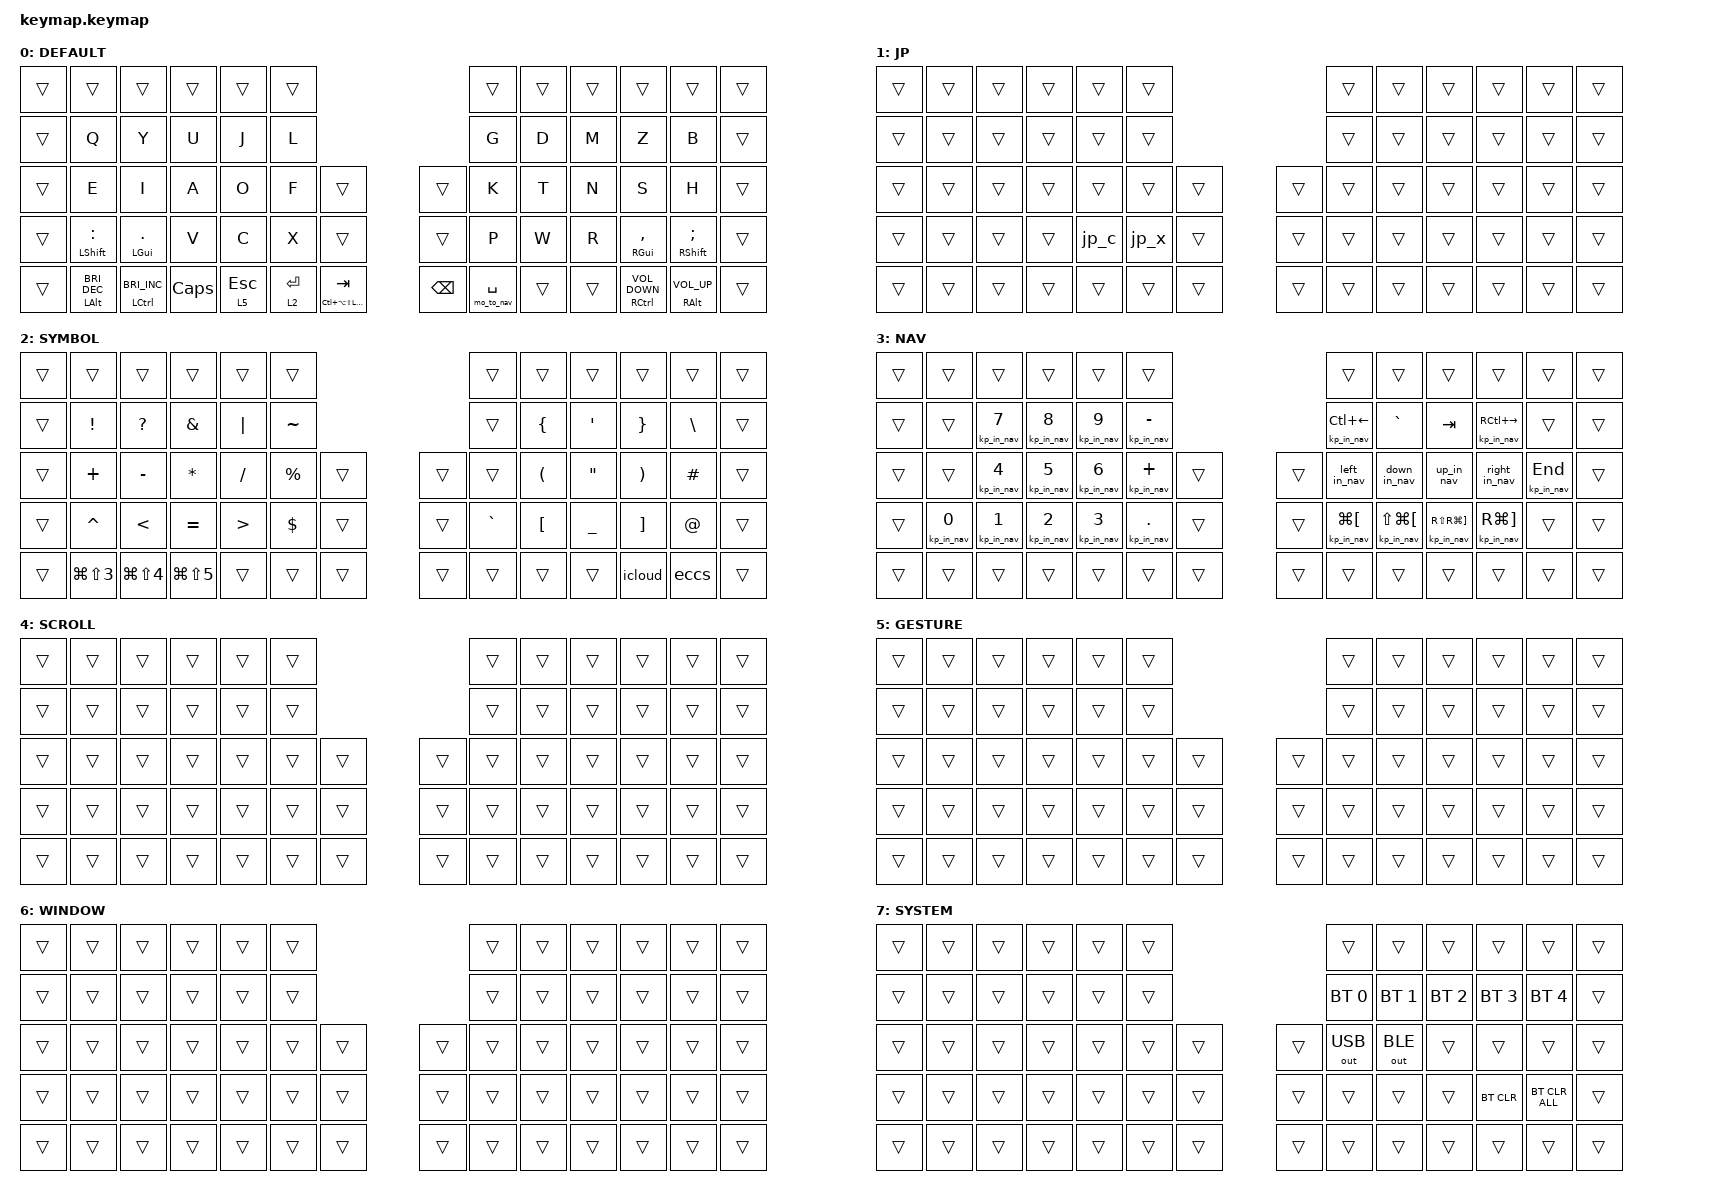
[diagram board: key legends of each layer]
#include <dt-bindings/zmk/input_transform.h>
#include <input/processors.dtsi>
#include <behaviors.dtsi>
#include <dt-bindings/zmk/keys.h>
#include <dt-bindings/zmk/pointing.h>
#include <dt-bindings/zmk/bt.h>
#include <dt-bindings/zmk/outputs.h>

// With any of these held, the JP-layer Q/L keys send plain Q/L (keeping the mods),
// so shortcuts like Cmd+Q and Cmd+L still work in Japanese mode.
#define JP_PASS_MODS (MOD_LGUI|MOD_RGUI|MOD_LCTL|MOD_RCTL|MOD_LALT|MOD_RALT|MOD_LSFT|MOD_RSFT)

// The BLE profile the iPad is paired on (&bt BT_SEL 1, the D key on SYSTEM).
// While it is in use, the trackball gestures send iPad shortcuts instead.
#define IPAD_BLE_PROFILE 1

// The key left of Esc sends Caps Lock, which the Mac and the iPad remap to Globe
// (Modifier Keys settings), so a tap opens the emoji picker. macOS drops a remapped
// Globe from key combos (Globe+Ctrl+F arrives as Ctrl+F), so no shortcut uses Globe.

&pointing_listener {
    input-processors =
        <&zip_xy_scaler 2 3>,
        <&zip_xy_transform (INPUT_TRANSFORM_X_INVERT | INPUT_TRANSFORM_Y_INVERT)>;

    scroll {
        layers = <4>;
        input-processors =
            <&zip_xy_scaler 2 3>,
            <&zip_xy_transform (INPUT_TRANSFORM_X_INVERT)>,
            <&zip_xy_to_scroll_mapper>,
            <&zip_scroll_scaler 1 16>;
    };

    gesture {
        layers = <5>;
        input-processors =
            <&zip_xy_transform (INPUT_TRANSFORM_X_INVERT | INPUT_TRANSFORM_Y_INVERT)>,
            <&zip_gestures>;
    };

    window {
        layers = <6>;
        input-processors =
            <&zip_xy_transform (INPUT_TRANSFORM_X_INVERT | INPUT_TRANSFORM_Y_INVERT)>,
            <&zip_window_gestures>;
    };
};

&lt {
    hold-while-undecided;
    flavor = "hold-preferred";
};

&mt { flavor = "balanced"; };

/ {
    // Flick the trackball while GESTURE (Esc) or WINDOW (A+O) is held to tap one of these
    // bindings (up, down, left, right). They are only reachable by flicking, not by keys.
    // None of the gestures is used repeatedly, so ignore the ball for 800 ms after one fires.
    // ipad-bindings replace them on the iPad's profile (USB and other profiles stay Mac).

    zip_gestures: zip_gestures {
        compatible = "zmk,input-processor-gestures";
        #input-processor-cells = <0>;
        // Mac: Mission Control, Raycast, show desktop, full screen.
        bindings =
            <&kp LC(UP_ARROW)>,
            <&kp LC(LA(LS(LG(R))))>,
            <&kp F11>,
            <&kp LG(LC(F))>;

        // iPad: mouse button 4 (App Switcher), Spotlight, Home, nothing. The iPad's
        // AssistiveTouch decides what button 4 does (Customize Additional Buttons);
        // button 5 is Lock Screen there, sent by &lock_host instead.
        ipad-bindings =
            <&mkp MB4>,
            <&kp LG(SPACE)>,
            <&kp LG(H)>,
            <&none>;

        ipad-ble-profile = <IPAD_BLE_PROFILE>;
        cooldown-ms = <800>;
    };

    zip_window_gestures: zip_window_gestures {
        compatible = "zmk,input-processor-gestures";
        #input-processor-cells = <0>;
        bindings =
            <&kp LC(LG(UP_ARROW))>,
            <&kp LC(LG(DOWN_ARROW))>,
            <&kp LC(LG(LEFT_ARROW))>,
            <&kp LC(LG(RIGHT_ARROW))>;

        // iPad: off (the iPad runs Full Screen Apps, so there are no windows to tile).
        ipad-bindings =
            <&none>,
            <&none>,
            <&none>,
            <&none>;

        ipad-ble-profile = <IPAD_BLE_PROFILE>;
        cooldown-ms = <800>;
    };

    combos {
        compatible = "zmk,combos";

        kana {
            bindings = <&tn_combo 4 0>;
            key-positions = <33 34>;
            layers = <0 1>;
        };

        eisuu {
            bindings = <&ao_combo 6 0>;
            key-positions = <28 27>;
            layers = <0 1>;
        };

        mb1 {
            bindings = <&mkp MB1>;
            timeout-ms = <80>;
            key-positions = <33 19>;
        };

        mb2 {
            bindings = <&mkp MB2>;
            timeout-ms = <80>;
            key-positions = <35 21>;
        };

        mb3 {
            bindings = <&mkp MB3>;
            timeout-ms = <80>;
            key-positions = <34 20>;
        };

        // Tap both brightness keys to lock the screen (Mac and iPad, see &lock_host);
        // hold both for Ctrl+Alt as before.
        lock_screen {
            bindings = <&pair_mt_lock LC(LEFT_ALT) 0>;
            key-positions = <53 54>;
            layers = <0 1>;
        };

        // Tap both volume keys to mute; hold both for Ctrl+Alt as before.
        mute {
            bindings = <&pair_mt RC(RIGHT_ALT) C_MUTE>;
            key-positions = <63 64>;
            layers = <0 1>;
        };

        // Hold Enter and Tab together for SYSTEM (BLE profiles and output).
        system_layer {
            bindings = <&mo 7>;
            key-positions = <57 58>;
            layers = <0 1>;
        };
    };

    behaviors {
        lt_to_nav: lt_to_nav {
            compatible = "zmk,behavior-hold-tap";
            label = "LT_TO_NAV";
            bindings = <&mo_to_nav>, <&kp>;

            #binding-cells = <2>;
            tapping-term-ms = <150>;
            hold-while-undecided;
        };

        tog_on: tog_on {
            compatible = "zmk,behavior-toggle-layer";
            label = "TOG_ON";
            #binding-cells = <1>;
            toggle-mode = "on";
        };

        tog_off: tog_off {
            compatible = "zmk,behavior-toggle-layer";
            label = "TOG_OFF";
            #binding-cells = <1>;
            toggle-mode = "off";
        };

        left_in_nav: left_in_nav {
            compatible = "zmk,behavior-mod-morph";
            label = "LEFT_IN_NAV";
            bindings = <&kp LEFT_ARROW>, <&kp LEFT_ARROW>;

            #binding-cells = <0>;
            mods = <(MOD_RGUI)>;
        };

        down_in_nav: down_in_nav {
            compatible = "zmk,behavior-mod-morph";
            label = "DOWN_IN_NAV";
            bindings = <&kp DOWN_ARROW>, <&kp DOWN_ARROW>;

            #binding-cells = <0>;
            mods = <(MOD_RGUI)>;
        };

        up_in_nav: up_in_nav {
            compatible = "zmk,behavior-mod-morph";
            label = "UP_IN_NAV";
            bindings = <&kp UP_ARROW>, <&kp UP_ARROW>;

            #binding-cells = <0>;
            mods = <(MOD_RGUI)>;
        };

        right_in_nav: right_in_nav {
            compatible = "zmk,behavior-mod-morph";
            label = "RIGHT_IN_NAV";
            bindings = <&kp RIGHT_ARROW>, <&kp RIGHT_ARROW>;

            #binding-cells = <0>;
            mods = <(MOD_RGUI)>;
        };

        tn_combo: tn_combo {
            compatible = "zmk,behavior-hold-tap";
            label = "TN_COMBO";
            bindings = <&mo>, <&kana_jp>;

            #binding-cells = <2>;
            flavor = "hold-preferred";
            tapping-term-ms = <150>;
            hold-while-undecided;
        };

        ao_combo: ao_combo {
            compatible = "zmk,behavior-hold-tap";
            label = "AO_COMBO";
            bindings = <&mo>, <&eisuu_default>;

            #binding-cells = <2>;
            flavor = "hold-preferred";
            tapping-term-ms = <150>;
            hold-while-undecided;
        };

        // JP layer only: C types "xn" (ん) and X types MINUS (ー).
        // Romaji input loses C (type ti/tya for ち/ちゃ), and L covers X's small kana (la, ltu, lya).
        // L stays plain so zh/zj/zk/zl still type the arrows.

        jp_c: jp_c {
            compatible = "zmk,behavior-mod-morph";
            label = "JP_C";
            bindings = <&xn_macro>, <&kp C>;

            #binding-cells = <0>;
            mods = <JP_PASS_MODS>;
            keep-mods = <JP_PASS_MODS>;
        };

        jp_x: jp_x {
            compatible = "zmk,behavior-mod-morph";
            label = "JP_X";
            bindings = <&kp MINUS>, <&kp X>;

            #binding-cells = <0>;
            mods = <JP_PASS_MODS>;
            keep-mods = <JP_PASS_MODS>;
        };

        my_mt: my_mt {
            compatible = "zmk,behavior-hold-tap";
            label = "MY_MT";
            bindings = <&kp>, <&kp>;

            #binding-cells = <2>;
            flavor = "hold-preferred";
            tapping-term-ms = <200>;
            hold-while-undecided;
            balanced-key-positions = <56 57 58 59 60>;
        };

        // Lock the screen: Cmd+Ctrl+Q on the Mac; on the iPad's profile mouse button 5,
        // which the iPad's AssistiveTouch maps to Lock Screen (the Power key doesn't lock it).
        lock_host: lock_host {
            compatible = "zmk,behavior-ipad-morph";
            label = "LOCK_HOST";
            #binding-cells = <0>;
            bindings = <&kp LG(LC(Q))>, <&mkp MB5>;
            ipad-ble-profile = <IPAD_BLE_PROFILE>;
        };

        // pair_mt with &lock_host as the tap, for the lock_screen combo.
        pair_mt_lock: pair_mt_lock {
            compatible = "zmk,behavior-hold-tap";
            label = "PAIR_MT_LOCK";
            bindings = <&kp>, <&lock_host>;

            #binding-cells = <2>;
            flavor = "hold-preferred";
            tapping-term-ms = <200>;
        };

        // Binding for combos on two mod-tap keys: a quick tap sends the shortcut,
        // while holding them (or pressing any other key) keeps both mods.
        // hold-preferred, so an unclear press never fires the tap.
        pair_mt: pair_mt {
            compatible = "zmk,behavior-hold-tap";
            label = "PAIR_MT";
            bindings = <&kp>, <&kp>;

            #binding-cells = <2>;
            flavor = "hold-preferred";
            tapping-term-ms = <200>;
        };
    };

    macros {
        mo_to_nav: mo_to_nav {
            compatible = "zmk,behavior-macro";
            #binding-cells = <0>;
            bindings =
                <&macro_press>,
                <&mo 3 &kp RIGHT_GUI>,
                <&macro_pause_for_release>,
                <&macro_release>,
                <&mo 3 &kp RIGHT_GUI>;

            label = "MO_TO_NAV";
        };

        kp_in_nav: kp_in_nav {
            compatible = "zmk,behavior-macro-one-param";
            #binding-cells = <1>;
            bindings =
                <&macro_release>,
                <&kp RIGHT_GUI>,
                <&macro_tap>,
                <&macro_param_1to1 &kp MACRO_PLACEHOLDER>,
                <&macro_press>,
                <&kp RIGHT_GUI>;

            label = "KP_IN_NAV";
        };

        // Track the input mode only when the kana/eisuu combo is tapped.
        // Explicit on/off also lets repeated taps resynchronize with the host.

        kana_jp: kana_jp {
            compatible = "zmk,behavior-macro";
            #binding-cells = <0>;
            wait-ms = <0>;
            tap-ms = <30>;
            bindings = <&macro_press>, <&tog_on 1>, <&macro_tap>, <&kp LANG1>;

            label = "KANA_JP";
        };

        eisuu_default: eisuu_default {
            compatible = "zmk,behavior-macro";
            #binding-cells = <0>;
            wait-ms = <0>;
            tap-ms = <30>;
            bindings = <&macro_press>, <&tog_off 1>, <&macro_tap>, <&kp LANG2>;

            label = "EISUU_DEFAULT";
        };

        xn_macro: xn_macro {
            compatible = "zmk,behavior-macro";
            #binding-cells = <0>;
            bindings = <&kp X &kp N>;
            label = "XN_MACRO";
        };

        icloud: icloud {
            compatible = "zmk,behavior-macro";
            #binding-cells = <0>;
            bindings = <&kp S &kp H &kp I &kp K &kp A &kp L &kp A &kp N &kp D &kp N0 &kp N9 &kp N2 &kp N7 &kp AT &kp I &kp C &kp L &kp O &kp U &kp D &kp DOT &kp C &kp O &kp M>;
            label = "ICLOUD";
        };

        eccs: eccs {
            compatible = "zmk,behavior-macro";
            #binding-cells = <0>;
            bindings = <&kp S &kp H &kp I &kp K &kp A &kp L &kp A &kp N &kp D &kp N0 &kp N9 &kp N2 &kp N7 &kp AT &kp G &kp DOT &kp E &kp C &kp C &kp DOT &kp U &kp MINUS &kp T &kp O &kp K &kp Y &kp O &kp DOT &kp A &kp C &kp DOT &kp J &kp P>;
            label = "ECCS";
        };
    };

    keymap {
        compatible = "zmk,keymap";

        DEFAULT {
            bindings = <
&trans  &trans                         &trans                             &trans         &trans        &trans                                                    &trans              &trans  &trans  &trans                           &trans                        &trans
&trans  &kp Q                          &kp Y                              &kp U          &kp J         &kp L                                                     &kp G               &kp D   &kp M   &kp Z                            &kp B                         &trans
&trans  &kp E                          &kp I                              &kp A          &kp O         &kp F        &trans                        &trans         &kp K               &kp T   &kp N   &kp S                            &kp H                         &trans
&trans  &my_mt LEFT_SHIFT COLON        &mt LEFT_GUI PERIOD                &kp V          &kp C         &kp X        &trans                        &trans         &kp P               &kp W   &kp R   &mt RIGHT_GUI COMMA              &my_mt RIGHT_SHIFT SEMICOLON  &trans
&trans  &mt LEFT_ALT C_BRIGHTNESS_DEC  &mt LEFT_CONTROL C_BRIGHTNESS_INC  &kp CAPS  &lt 5 ESCAPE  &lt 2 ENTER  &mt LC(LA(LS(LEFT_GUI))) TAB  &kp BACKSPACE  &lt_to_nav 0 SPACE  &trans  &trans  &mt RIGHT_CONTROL C_VOLUME_DOWN  &mt RIGHT_ALT C_VOLUME_UP     &trans
            >;
        };

        // Keep JP right above DEFAULT, so combos limited to DEFAULT/JP stay off
        // while SYMBOL or NAV is held. Only C (ん) and X (ー) differ from DEFAULT.

        JP {
            bindings = <
&trans  &trans  &trans  &trans  &trans  &trans                  &trans  &trans  &trans  &trans  &trans  &trans
&trans  &trans  &trans  &trans  &trans  &trans                  &trans  &trans  &trans  &trans  &trans  &trans
&trans  &trans  &trans  &trans  &trans  &trans  &trans  &trans  &trans  &trans  &trans  &trans  &trans  &trans
&trans  &trans  &trans  &trans  &jp_c   &jp_x   &trans  &trans  &trans  &trans  &trans  &trans  &trans  &trans
&trans  &trans  &trans  &trans  &trans  &trans  &trans  &trans  &trans  &trans  &trans  &trans  &trans  &trans
            >;
        };

        SYMBOL {
            bindings = <
&trans  &trans                &trans                &trans                &trans            &trans                       &trans     &trans                &trans             &trans                 &trans         &trans
&trans  &kp EXCLAMATION       &kp QUESTION          &kp AMPERSAND         &kp PIPE          &kp TILDE                    &trans     &kp LEFT_BRACE        &kp SQT            &kp RIGHT_BRACE        &kp BACKSLASH  &trans
&trans  &kp PLUS              &kp MINUS             &kp ASTERISK          &kp SLASH         &kp PERCENT  &trans  &trans  &trans     &kp LEFT_PARENTHESIS  &kp DOUBLE_QUOTES  &kp RIGHT_PARENTHESIS  &kp HASH       &trans
&trans  &kp CARET             &kp LESS_THAN         &kp EQUAL             &kp GREATER_THAN  &kp DOLLAR   &trans  &trans  &kp GRAVE  &kp LEFT_BRACKET      &kp UNDERSCORE     &kp RIGHT_BRACKET      &kp AT         &trans
&trans  &kp LG(LS(NUMBER_3))  &kp LG(LS(NUMBER_4))  &kp LG(LS(NUMBER_5))  &trans            &trans       &trans  &trans  &trans     &trans                &trans             &icloud                &eccs          &trans
            >;
        };

        NAV {
            bindings = <
&trans  &trans               &trans               &trans               &trans               &trans                             &trans                       &trans                           &trans                            &trans                        &trans                   &trans
&trans  &trans               &kp_in_nav N7        &kp_in_nav NUMBER_8  &kp_in_nav NUMBER_9  &kp_in_nav MINUS                   &kp_in_nav LC(LEFT_ARROW)    &kp GRAVE                        &kp TAB                           &kp_in_nav RC(RIGHT_ARROW)    &trans                   &trans
&trans  &trans               &kp_in_nav NUMBER_4  &kp_in_nav N5        &kp_in_nav NUMBER_6  &kp_in_nav PLUS    &trans  &trans  &left_in_nav                 &down_in_nav                     &up_in_nav                        &right_in_nav                 &kp_in_nav END           &trans
&trans  &kp_in_nav NUMBER_0  &kp_in_nav NUMBER_1  &kp_in_nav NUMBER_2  &kp_in_nav NUMBER_3  &kp_in_nav PERIOD  &trans  &trans  &kp_in_nav LG(LEFT_BRACKET)  &kp_in_nav LS(LG(LEFT_BRACKET))  &kp_in_nav RS(RG(RIGHT_BRACKET))  &kp_in_nav RG(RIGHT_BRACKET)  &trans                   &trans
&trans  &trans               &trans               &trans               &trans               &trans             &trans  &trans  &trans                       &trans                           &trans                            &trans                        &trans                   &trans
            >;
        };

        SCROLL {
            bindings = <
&trans  &trans  &trans  &trans  &trans  &trans                  &trans  &trans  &trans  &trans  &trans  &trans
&trans  &trans  &trans  &trans  &trans  &trans                  &trans  &trans  &trans  &trans  &trans  &trans
&trans  &trans  &trans  &trans  &trans  &trans  &trans  &trans  &trans  &trans  &trans  &trans  &trans  &trans
&trans  &trans  &trans  &trans  &trans  &trans  &trans  &trans  &trans  &trans  &trans  &trans  &trans  &trans
&trans  &trans  &trans  &trans  &trans  &trans  &trans  &trans  &trans  &trans  &trans  &trans  &trans  &trans
            >;
        };

        // Hold Esc to flick the trackball for &zip_gestures (keys stay transparent).

        GESTURE {
            bindings = <
&trans  &trans  &trans  &trans  &trans  &trans                  &trans  &trans  &trans  &trans  &trans  &trans
&trans  &trans  &trans  &trans  &trans  &trans                  &trans  &trans  &trans  &trans  &trans  &trans
&trans  &trans  &trans  &trans  &trans  &trans  &trans  &trans  &trans  &trans  &trans  &trans  &trans  &trans
&trans  &trans  &trans  &trans  &trans  &trans  &trans  &trans  &trans  &trans  &trans  &trans  &trans  &trans
&trans  &trans  &trans  &trans  &trans  &trans  &trans  &trans  &trans  &trans  &trans  &trans  &trans  &trans
            >;
        };

        // Hold A+O (tap is eisuu) to flick for &zip_window_gestures (keys stay transparent).

        WINDOW {
            bindings = <
&trans  &trans  &trans  &trans  &trans  &trans                  &trans  &trans  &trans  &trans  &trans  &trans
&trans  &trans  &trans  &trans  &trans  &trans                  &trans  &trans  &trans  &trans  &trans  &trans
&trans  &trans  &trans  &trans  &trans  &trans  &trans  &trans  &trans  &trans  &trans  &trans  &trans  &trans
&trans  &trans  &trans  &trans  &trans  &trans  &trans  &trans  &trans  &trans  &trans  &trans  &trans  &trans
&trans  &trans  &trans  &trans  &trans  &trans  &trans  &trans  &trans  &trans  &trans  &trans  &trans  &trans
            >;
        };

        // Hold Enter and Tab together (combo system_layer) to reach SYSTEM. Right hand:
        // top row = BLE profiles 0-4, home row = output to USB / BLE,
        // bottom row pinky side = clear this profile's pairing / clear all pairings.

        SYSTEM {
            bindings = <
&trans  &trans  &trans  &trans  &trans  &trans                  &trans          &trans          &trans          &trans          &trans          &trans
&trans  &trans  &trans  &trans  &trans  &trans                  &bt BT_SEL 0    &bt BT_SEL 1    &bt BT_SEL 2    &bt BT_SEL 3    &bt BT_SEL 4    &trans
&trans  &trans  &trans  &trans  &trans  &trans  &trans  &trans  &out OUT_USB    &out OUT_BLE    &trans          &trans          &trans          &trans
&trans  &trans  &trans  &trans  &trans  &trans  &trans  &trans  &trans          &trans          &trans          &bt BT_CLR      &bt BT_CLR_ALL  &trans
&trans  &trans  &trans  &trans  &trans  &trans  &trans  &trans  &trans          &trans          &trans          &trans          &trans          &trans
            >;
        };
    };
};
